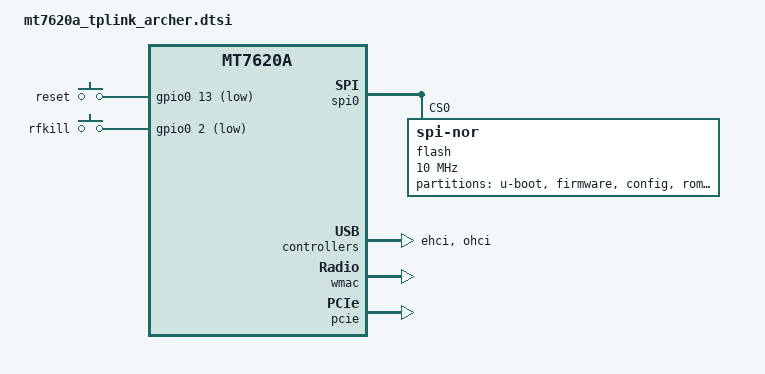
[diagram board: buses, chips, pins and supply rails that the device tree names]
#include "mt7620a.dtsi"

#include <dt-bindings/input/input.h>
#include <dt-bindings/gpio/gpio.h>

/ {
	chosen {
		bootargs = "console=ttyS0,115200";
	};

	keys {
		compatible = "gpio-keys";

		reset {
			label = "reset";
			gpios = <&gpio0 13 GPIO_ACTIVE_LOW>;
			linux,code = <KEY_RESTART>;
		};

		rfkill {
			label = "rfkill";
			gpios = <&gpio0 2 GPIO_ACTIVE_LOW>;
			linux,code = <KEY_RFKILL>;
		};
	};
};

&gpio1 {
	status = "okay";
};

&gpio2 {
	status = "okay";
};

&gpio3 {
	status = "okay";
};

&spi0 {
	status = "okay";

	flash@0 {
		compatible = "jedec,spi-nor";
		reg = <0>;
		spi-max-frequency = <10000000>;

		partitions {
			compatible = "fixed-partitions";
			#address-cells = <1>;
			#size-cells = <1>;

			partition@0 {
				label = "u-boot";
				reg = <0x0 0x20000>;
				read-only;
			};

			partition@20000 {
				compatible = "tplink,firmware";
				label = "firmware";
				reg = <0x20000 0x7a0000>;
			};

			partition@7c0000 {
				label = "config";
				reg = <0x7c0000 0x10000>;
				read-only;
			};

			rom: partition@7d0000 {
				label = "rom";
				reg = <0x7d0000 0x10000>;
				read-only;
			};

			partition@7e0000 {
				label = "romfile";
				reg = <0x7e0000 0x10000>;
				read-only;
			};

			radio: partition@7f0000 {
				label = "radio";
				reg = <0x7f0000 0x10000>;
				read-only;
			};
		};
	};
};

&ethernet {
	pinctrl-names = "default";

	mtd-mac-address = <&rom 0xf100>;

	mediatek,portmap = "wllll";
};

&ehci {
	status = "okay";
};

&ohci {
	status = "okay";
};

&gsw {
	mediatek,port4 = "ephy";
};

&wmac {
	ralink,mtd-eeprom = <&radio 0x0>;
};

&pcie {
	status = "okay";
};

&pcie0 {
	wifi: mt76@0,0 {
		reg = <0x0000 0 0 0 0>;
		mediatek,mtd-eeprom = <&radio 0x8000>;
		ieee80211-freq-limit = <5000000 6000000>;
	};
};
